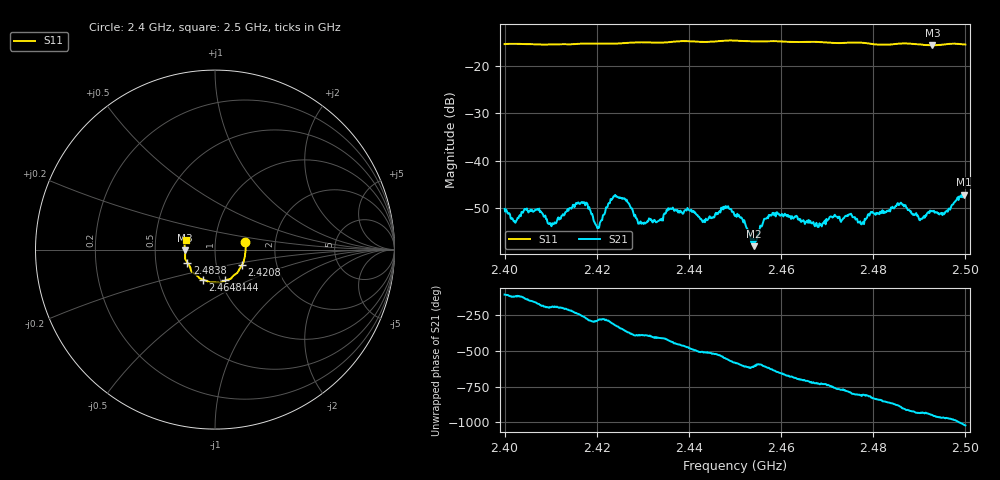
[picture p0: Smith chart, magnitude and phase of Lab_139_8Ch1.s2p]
# Hz S RI R 50
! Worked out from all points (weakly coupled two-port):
!   601 points, 2.4 GHz to 2.5 GHz, reference 50 ohm
!   highest |S21| = -47.20 dB at 2.4997 GHz (marker M1); lowest = -58.1 dB at 2.4542 GHz (marker M2)
!   lowest |S11| = -15.6 dB at 2.4928 GHz (marker M3), VSWR 1.40, Z = 35.7 - j0.313 ohm
!   |S11| at or under -10 dB: start of sweep to end of sweep
!   S12 and S22 are empty: the file has one direction only
!   S11 on the Smith chart (normalised r, x): 2.4 GHz: 1.39, +0.12; 2.4208 GHz: 1.33, -0.24; 2.444 GHz: 1.05, -0.37; 2.4648 GHz: 0.83, -0.29; 2.4838 GHz: 0.73, -0.11; 2.5 GHz: 0.72, +0.08
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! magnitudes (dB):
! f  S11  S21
! 2.4 GHz  -15.3  -50.2
! 2.4022 GHz  -15.3  -52.8
! 2.4072 GHz  -15.4  -50.2
! 2.4102 GHz  -15.4  -53.9
! 2.4167 GHz  -15.2  -48.8
! 2.4208 GHz  -15.2  -52.9
! 2.4242 GHz  -15.2  -47.6
! 2.4293 GHz  -14.9  -53.2
! 2.4333 GHz  -15.0  -52.8
! 2.436 GHz  -14.9  -50.1
! 2.444 GHz  -14.8  -52.6
! 2.4482 GHz  -14.6  -50.0
! 2.45 GHz  -14.6  -51.8
! 2.4542 GHz  -14.7  -58.1
! 2.4578 GHz  -14.7  -51.7
! 2.4648 GHz  -14.9  -52.6
! 2.4667 GHz  -14.8  -53.3
! 2.4833 GHz  -15.4  -50.7
! 2.4838 GHz  -15.4  -50.0
! 2.4928 GHz  -15.6  -50.7
! 2.4997 GHz  -15.4  -47.2
! 2.5 GHz  -15.4  -47.2
